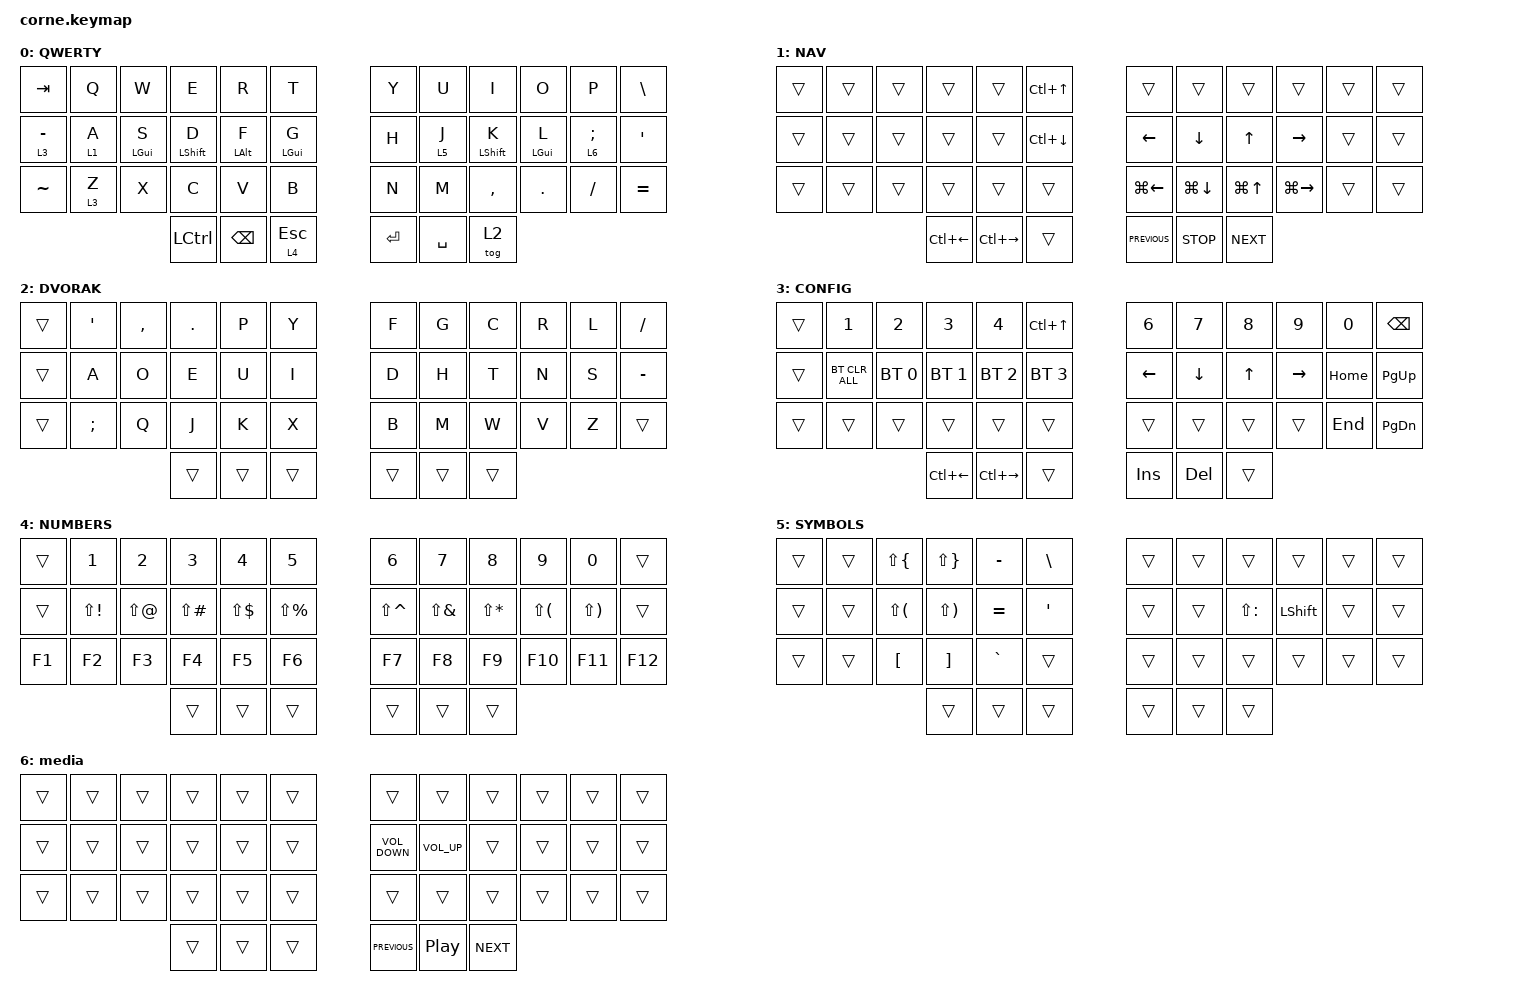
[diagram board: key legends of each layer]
/*
 * Copyright (c) 2020 The ZMK Contributors
 *
 * SPDX-License-Identifier: MIT
 */

#include <behaviors.dtsi>
#include <dt-bindings/zmk/bt.h>
#include <dt-bindings/zmk/keys.h>

#define DEFAULT_L 0
#define SYMBOLS_L 1
#define ARROWS_L  2
#define NUMBERS_L 3

/ {
    behaviors {
        hm: homerow_mods {
            compatible = "zmk,behavior-hold-tap";
            label = "HOMEROW_MODS";
            #binding-cells = <2>;
            tapping-term-ms = <200>;
            quick-tap-ms = <125>;
            flavor = "tap-preferred";
            bindings = <&kp>, <&kp>;
        };
    };


    keymap {
        compatible = "zmk,keymap";

        default_layer {
            display-name = "QWERTY";
            bindings = <
&kp TAB      &kp Q    &kp W       &kp E         &kp R       &kp T                       &kp Y      &kp U      &kp I         &kp O       &kp P            &kp BACKSLASH
&lt 3 MINUS  &lt 1 A  &hm LGUI S  &hm LSHIFT D  &hm LALT F  &hm LGUI G    &kp H      &lt 5 J    &hm LSHIFT K  &hm LGUI L  &lt 6 SEMICOLON  &kp SQT
&kp TILDE    &lt 3 Z  &kp X       &kp C         &kp V       &kp B                       &kp N      &kp M      &kp COMMA     &kp DOT     &kp FSLH         &kp EQUAL
                                  &kp LCTRL     &kp BSPC    &lt 4 ESC                   &kp ENTER  &kp SPACE  &tog 2
            >;
        };

        navigation {
            bindings = <
&trans  &trans  &trans  &trans              &trans         &kp LC(UP_ARROW)    &trans          &trans        &trans      &trans         &trans  &trans
&trans  &trans  &trans  &trans              &trans         &kp LC(DOWN)        &kp LEFT        &kp DOWN      &kp UP      &kp RIGHT      &trans  &trans
&trans  &trans  &trans  &trans              &trans         &trans              &kp LG(LEFT)    &kp LG(DOWN)  &kp LG(UP)  &kp LG(RIGHT)  &trans  &trans
                        &kp LC(LEFT_ARROW)  &kp LC(RIGHT)  &trans              &kp C_PREVIOUS  &kp C_STOP    &kp C_NEXT
            >;

            label = "NAV";
        };

        dvorak {
            bindings = <
&trans  &kp APOS  &kp COMMA  &kp DOT  &kp P   &kp Y     &kp F   &kp G   &kp C   &kp R  &kp L  &kp FSLH
&trans  &kp A     &kp O      &kp E    &kp U   &kp I     &kp D   &kp H   &kp T   &kp N  &kp S  &kp MINUS
&trans  &kp SEMI  &kp Q      &kp J    &kp K   &kp X     &kp B   &kp M   &kp W   &kp V  &kp Z  &trans
                             &trans   &trans  &trans    &trans  &trans  &trans
            >;

            label = "DVORAK";
        };

        config {
            display-name = "CONFIG";
            bindings = <
&trans  &kp N1          &kp N2        &kp N3        &kp N4         &kp LC(UP)      &kp N6    &kp N7    &kp N8  &kp N9     &kp N0    &kp BSPC
&trans  &bt BT_CLR_ALL  &bt BT_SEL 0  &bt BT_SEL 1  &bt BT_SEL 2   &bt BT_SEL 3    &kp LEFT  &kp DOWN  &kp UP  &kp RIGHT  &kp HOME  &kp PG_UP
&trans  &trans          &trans        &trans        &trans         &trans          &trans    &trans    &trans  &trans     &kp END   &kp PG_DN
                                      &kp LC(LEFT)  &kp LC(RIGHT)  &trans          &kp INS   &kp DEL   &trans
            >;
        };

        numbers {
            bindings = <
&trans  &kp N1        &kp N2      &kp N3         &kp N4        &kp N5           &kp N6         &kp N7        &kp N8        &kp N9        &kp N0        &trans
&trans  &kp LS(EXCL)  &kp LS(AT)  &kp LS(POUND)  &kp LS(DLLR)  &kp LS(PRCNT)    &kp LS(CARET)  &kp LS(AMPS)  &kp LS(STAR)  &kp LS(LPAR)  &kp LS(RPAR)  &trans
&kp F1  &kp F2        &kp F3      &kp F4         &kp F5        &kp F6           &kp F7         &kp F8        &kp F9        &kp F10       &kp F11       &kp F12
                                  &trans         &trans        &trans           &trans         &trans        &trans
            >;

            label = "NUMBERS";
        };

        symbols {
            bindings = <
&trans  &trans  &kp LS(LBRC)  &kp LS(RBRC)  &kp MINUS  &kp BACKSLASH       &trans  &trans  &trans         &trans          &trans  &trans
&trans  &trans  &kp LS(LPAR)  &kp LS(RPAR)  &kp EQUAL  &kp SINGLE_QUOTE    &trans  &trans  &kp LS(COLON)  &kp LEFT_SHIFT  &trans  &trans
&trans  &trans  &kp LBKT      &kp RBKT      &kp GRAVE  &trans              &trans  &trans  &trans         &trans          &trans  &trans
                              &trans        &trans     &trans              &trans  &trans  &trans
            >;

            label = "SYMBOLS";
        };

        media {
            bindings = <
&trans  &trans  &trans  &trans  &trans  &trans    &trans             &trans            &trans      &trans  &trans  &trans
&trans  &trans  &trans  &trans  &trans  &trans    &kp C_VOLUME_DOWN  &kp C_VOLUME_UP   &trans      &trans  &trans  &trans
&trans  &trans  &trans  &trans  &trans  &trans    &trans             &trans            &trans      &trans  &trans  &trans
                        &trans  &trans  &trans    &kp C_PREVIOUS     &kp C_PLAY_PAUSE  &kp C_NEXT
            >;

            label = "media";
        };
    };
};
